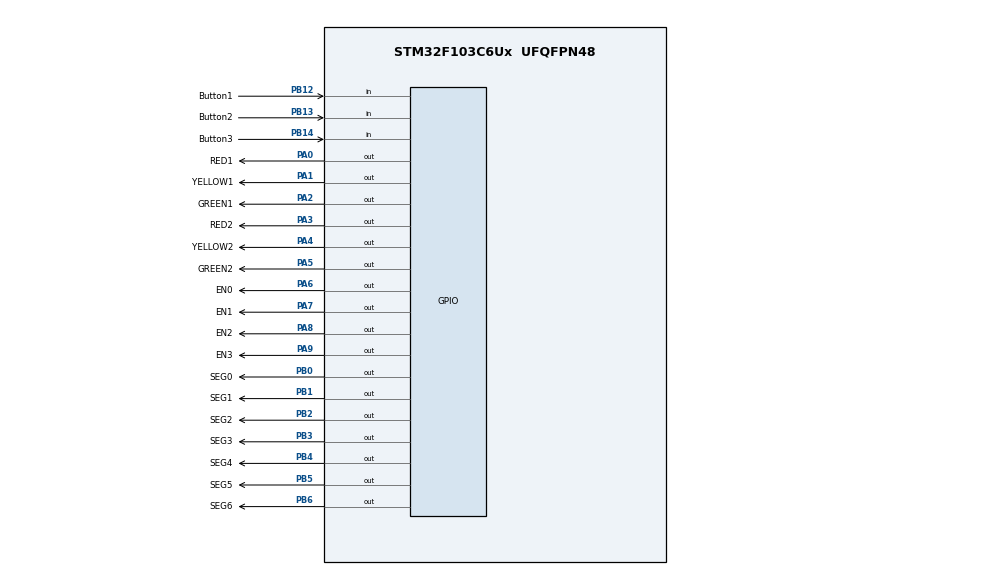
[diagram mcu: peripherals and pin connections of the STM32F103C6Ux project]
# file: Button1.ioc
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Mcu.Family=STM32F1
Mcu.Name=STM32F103C6Ux
Mcu.Package=UFQFPN48
NVIC.PriorityGroup=NVIC_PRIORITYGROUP_4
NVIC.TIM2_IRQn=true\:0\:0\:false\:false\:true\:true\:true
PA0-WKUP.GPIO_Label=RED1
PA0-WKUP.Signal=GPIO_Output
PA1.GPIO_Label=YELLOW1
PA1.Signal=GPIO_Output
PA2.GPIO_Label=GREEN1
PA2.Signal=GPIO_Output
PA3.GPIO_Label=RED2
PA3.Signal=GPIO_Output
PA4.GPIO_Label=YELLOW2
PA4.Signal=GPIO_Output
PA5.GPIO_Label=GREEN2
PA5.Signal=GPIO_Output
PA6.GPIO_Label=EN0
PA6.Signal=GPIO_Output
PA7.GPIO_Label=EN1
PA7.Signal=GPIO_Output
PA8.GPIO_Label=EN2
PA8.Signal=GPIO_Output
PA9.GPIO_Label=EN3
PA9.Signal=GPIO_Output
PB0.GPIO_Label=SEG0
PB0.Signal=GPIO_Output
PB1.GPIO_Label=SEG1
PB1.Signal=GPIO_Output
PB12.GPIO_Label=Button1
PB12.GPIO_PuPd=GPIO_PULLUP
PB12.Signal=GPIO_Input
PB13.GPIO_Label=Button2
PB13.GPIO_PuPd=GPIO_PULLUP
PB13.Signal=GPIO_Input
PB14.GPIO_Label=Button3
PB14.GPIO_PuPd=GPIO_PULLUP
PB14.Signal=GPIO_Input
PB2.GPIO_Label=SEG2
PB2.Signal=GPIO_Output
PB3.GPIO_Label=SEG3
PB3.Signal=GPIO_Output
PB4.GPIO_Label=SEG4
PB4.Signal=GPIO_Output
PB5.GPIO_Label=SEG5
PB5.Signal=GPIO_Output
PB6.GPIO_Label=SEG6
PB6.Signal=GPIO_Output
ProjectManager.HeapSize=0x200
ProjectManager.StackSize=0x400
ProjectManager.TargetToolchain=STM32CubeIDE
RCC.APB1Freq_Value=8000000
RCC.APB2Freq_Value=8000000
TIM2.Period=9
TIM2.Prescaler=7999
VP_SYS_VS_ND.Mode=No_Debug
VP_TIM2_VS_ClockSourceINT.Mode=Internal
board=custom

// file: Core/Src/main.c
/* USER CODE BEGIN Header */
/**
  ******************************************************************************
  * @file           : main.c
  * @brief          : Main program body
  ******************************************************************************
  * @attention
  *
  * <h2><center>&copy; Copyright (c) 2022 STMicroelectronics.
  * All rights reserved.</center></h2>
  *
  * This software component is licensed by ST under BSD 3-Clause license,
  * the "License"; You may not use this file except in compliance with the
  * License. You may obtain a copy of the License at:
  *                        opensource.org/licenses/BSD-3-Clause
  *
  ******************************************************************************
  */
/* USER CODE END Header */
#include "main.h"

/* USER CODE BEGIN Includes */
#include "Software_timer.h"
#include "button.h"
#include "fsm_automatic.h"
#include "fsm_manual.h"
/* USER CODE END Includes */

TIM_HandleTypeDef htim2;

void SystemClock_Config(void);
static void MX_GPIO_Init(void);
static void MX_TIM2_Init(void);

int main(void)
{

  /* MCU Configuration--------------------------------------------------------*/

  /* Reset of all peripherals, Initializes the Flash interface and the Systick. */
  HAL_Init();

  /* Configure the system clock */
  SystemClock_Config();

  /* Initialize all configured peripherals */
  MX_GPIO_Init();
  MX_TIM2_Init();
  /* USER CODE BEGIN 2 */
  HAL_TIM_Base_Start_IT (&htim2);
  /* USER CODE END 2 */

  /* Infinite loop */
  /* USER CODE BEGIN WHILE */
  status_col=INIT;
  status_row=INIT;

  setTimer1(10);
  setTimer2(10);
  setTimer3(10);
  setTimer5(10);
  while (1)
  {
	  Run_7SEG();
	  fsm_automatic_run();
	  fsm_manial_run();

    /* USER CODE END WHILE */

  }
}

void SystemClock_Config(void)
{
  RCC_OscInitTypeDef RCC_OscInitStruct = {0};
  RCC_ClkInitTypeDef RCC_ClkInitStruct = {0};

  /** Initializes the RCC Oscillators according to the specified parameters
  * in the RCC_OscInitTypeDef structure.
  */
  RCC_OscInitStruct.OscillatorType = RCC_OSCILLATORTYPE_HSI;
  RCC_OscInitStruct.HSIState = RCC_HSI_ON;
  RCC_OscInitStruct.HSICalibrationValue = RCC_HSICALIBRATION_DEFAULT;
  RCC_OscInitStruct.PLL.PLLState = RCC_PLL_NONE;
  if (HAL_RCC_OscConfig(&RCC_OscInitStruct) != HAL_OK)
  {
    Error_Handler();
  }
  /** Initializes the CPU, AHB and APB buses clocks
  */
  RCC_ClkInitStruct.ClockType = RCC_CLOCKTYPE_HCLK|RCC_CLOCKTYPE_SYSCLK
                              |RCC_CLOCKTYPE_PCLK1|RCC_CLOCKTYPE_PCLK2;
  RCC_ClkInitStruct.SYSCLKSource = RCC_SYSCLKSOURCE_HSI;
  RCC_ClkInitStruct.AHBCLKDivider = RCC_SYSCLK_DIV1;
  RCC_ClkInitStruct.APB1CLKDivider = RCC_HCLK_DIV1;
  RCC_ClkInitStruct.APB2CLKDivider = RCC_HCLK_DIV1;

  if (HAL_RCC_ClockConfig(&RCC_ClkInitStruct, FLASH_LATENCY_0) != HAL_OK)
  {
    Error_Handler();
  }
}

static void MX_TIM2_Init(void)
{

  TIM_ClockConfigTypeDef sClockSourceConfig = {0};
  TIM_MasterConfigTypeDef sMasterConfig = {0};

  htim2.Instance = TIM2;
  htim2.Init.Prescaler = 7999;
  htim2.Init.CounterMode = TIM_COUNTERMODE_UP;
  htim2.Init.Period = 9;
  htim2.Init.ClockDivision = TIM_CLOCKDIVISION_DIV1;
  htim2.Init.AutoReloadPreload = TIM_AUTORELOAD_PRELOAD_DISABLE;
  if (HAL_TIM_Base_Init(&htim2) != HAL_OK)
  {
    Error_Handler();
  }
  sClockSourceConfig.ClockSource = TIM_CLOCKSOURCE_INTERNAL;
  if (HAL_TIM_ConfigClockSource(&htim2, &sClockSourceConfig) != HAL_OK)
  {
    Error_Handler();
  }
  sMasterConfig.MasterOutputTrigger = TIM_TRGO_RESET;
  sMasterConfig.MasterSlaveMode = TIM_MASTERSLAVEMODE_DISABLE;
  if (HAL_TIMEx_MasterConfigSynchronization(&htim2, &sMasterConfig) != HAL_OK)
  {
    Error_Handler();
  }

}

static void MX_GPIO_Init(void)
{
  GPIO_InitTypeDef GPIO_InitStruct = {0};

  /* GPIO Ports Clock Enable */
  __HAL_RCC_GPIOA_CLK_ENABLE();
  __HAL_RCC_GPIOB_CLK_ENABLE();

  /*Configure GPIO pin Output Level */
  HAL_GPIO_WritePin(GPIOA, RED1_Pin|YELLOW1_Pin|GREEN1_Pin|RED2_Pin
                          |YELLOW2_Pin|GREEN2_Pin|EN0_Pin|EN1_Pin
                          |EN2_Pin|EN3_Pin, GPIO_PIN_RESET);

  /*Configure GPIO pin Output Level */
  HAL_GPIO_WritePin(GPIOB, SEG0_Pin|SEG1_Pin|SEG2_Pin|SEG3_Pin
                          |SEG4_Pin|SEG5_Pin|SEG6_Pin, GPIO_PIN_RESET);

  /*Configure GPIO pins : RED1_Pin YELLOW1_Pin GREEN1_Pin RED2_Pin
                           YELLOW2_Pin GREEN2_Pin EN0_Pin EN1_Pin
                           EN2_Pin EN3_Pin */
  GPIO_InitStruct.Pin = RED1_Pin|YELLOW1_Pin|GREEN1_Pin|RED2_Pin
                          |YELLOW2_Pin|GREEN2_Pin|EN0_Pin|EN1_Pin
                          |EN2_Pin|EN3_Pin;
  GPIO_InitStruct.Mode = GPIO_MODE_OUTPUT_PP;
  GPIO_InitStruct.Pull = GPIO_NOPULL;
  GPIO_InitStruct.Speed = GPIO_SPEED_FREQ_LOW;
  HAL_GPIO_Init(GPIOA, &GPIO_InitStruct);

  /*Configure GPIO pins : SEG0_Pin SEG1_Pin SEG2_Pin SEG3_Pin
                           SEG4_Pin SEG5_Pin SEG6_Pin */
  GPIO_InitStruct.Pin = SEG0_Pin|SEG1_Pin|SEG2_Pin|SEG3_Pin
                          |SEG4_Pin|SEG5_Pin|SEG6_Pin;
  GPIO_InitStruct.Mode = GPIO_MODE_OUTPUT_PP;
  GPIO_InitStruct.Pull = GPIO_NOPULL;
  GPIO_InitStruct.Speed = GPIO_SPEED_FREQ_LOW;
  HAL_GPIO_Init(GPIOB, &GPIO_InitStruct);

  /*Configure GPIO pins : Button1_Pin Button2_Pin Button3_Pin */
  GPIO_InitStruct.Pin = Button1_Pin|Button2_Pin|Button3_Pin;
  GPIO_InitStruct.Mode = GPIO_MODE_INPUT;
  GPIO_InitStruct.Pull = GPIO_PULLUP;
  HAL_GPIO_Init(GPIOB, &GPIO_InitStruct);

}

/* USER CODE BEGIN 4 */
void HAL_TIM_PeriodElapsedCallback (TIM_HandleTypeDef * htim)
{
	timerRun();
	getKeyInput();
}
/* USER CODE END 4 */

void Error_Handler(void)
{
  __disable_irq();
  while (1)
  {
  }
}

/************************ (C) COPYRIGHT STMicroelectronics *****END OF FILE****/
